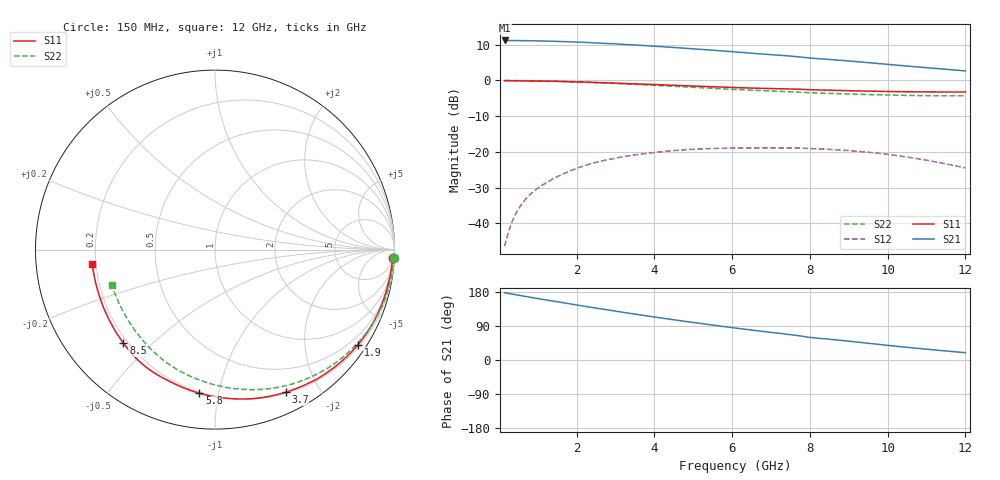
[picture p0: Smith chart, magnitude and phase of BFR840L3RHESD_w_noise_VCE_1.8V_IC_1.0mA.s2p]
! Infineon Technologies  Discrete & RF Semiconductors
! BFR840L3RHESD
! VCE =  1.8 V,  IC =  1.0 mA
! Common Emitter S-Parameters:  Jun 2012
# GHz  S  MA  R  50
!  f  S11  S21  S12  S22
! GHz  MAG  ANG  MAG  ANG  MAG  ANG  MAG  ANG
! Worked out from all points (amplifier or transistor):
!   91 points, 150 MHz to 12 GHz, reference 50 ohm
!   highest |S21| = 11.2 dB at 150 MHz (marker M1)
!   |S21| within 3 dB of that: start of sweep to 5.831 GHz
!   unconditionally stable (mu >= 1): 10.32 GHz to end of sweep
!   at 1.3 GHz: K = 0.06, MSG = 19.6 dB, |S12| = -28.1 dB
!   at 4.3 GHz: K = 0.18, MSG = 14.6 dB, |S12| = -19.8 dB
!   at 12 GHz: K = 1.87, MAG = 8.2 dB, |S12| = -24.5 dB
!   lowest NFmin = 0.33 dB at 450 MHz
!   S11 on the Smith chart (normalised r, x): 150 MHz: 8, -39; 1.9 GHz: 0.26, -3.29; 3.7 GHz: 0.21, -1.59; 5.8 GHz: 0.19, -0.88; 8.5 GHz: 0.18, -0.41; 12 GHz: 0.18, -0.06
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0.15  0.9904 -2.8  3.622 177.3  0.0048 90.5  0.9988 -2.6
0.25  0.9897 -4.6  3.616 175.5  0.0076 86.2  0.9979 -4.2
0.35  0.9884 -6.4  3.612 173.8  0.0108 83.2  0.9967 -5.9
0.5  0.986 -9.1  3.606 171.1  0.0157 80.0  0.9947 -8.4
0.7  0.9828 -12.6  3.596 167.5  0.0221 76.8  0.9916 -11.6
0.9  0.9798 -16.1  3.581 164.0  0.0281 74.3  0.988 -14.9
1.3  0.9731 -23.1  3.539 157.2  0.0392 69.5  0.9781 -21.4
1.9  0.9567 -33.6  3.458 146.9  0.056 61.1  0.9562 -31.0
2.2  0.9465 -38.8  3.406 141.9  0.064 56.4  0.9436 -35.7
3  0.9172 -52.3  3.251 129.0  0.0811 45.5  0.9062 -47.9
3.7  0.8867 -63.7  3.083 118.0  0.0939 36.2  0.8691 -58.5
4.2  0.8671 -71.7  2.962 110.6  0.1007 29.7  0.8427 -65.7
5  0.8343 -84.1  2.767 99.1  0.1087 19.5  0.8004 -77.0
5.8  0.805 -96.2  2.572 88.2  0.1125 9.9  0.761 -88.0
6.1  0.7946 -100.7  2.498 84.2  0.1132 6.5  0.7472 -92.0
6.8  0.7737 -110.6  2.335 75.3  0.1137 -0.6  0.7181 -101.2
7.4  0.7614 -118.9  2.21 68.2  0.1137 -6.6  0.6971 -108.7
8  0.7415 -129.1  2.053 59.5  0.1114 -14.7  0.6718 -118.0
8.5  0.7297 -134.4  1.965 54.9  0.1086 -19.3  0.6589 -123.0
9.5  0.7078 -146.5  1.773 44.2  0.099 -30.1  0.6344 -134.4
10.5  0.6941 -158.3  1.589 33.4  0.0848 -41.2  0.6172 -145.9
12  0.6889 -173.3  1.358 19.3  0.0597 -54.4  0.6089 -161.1
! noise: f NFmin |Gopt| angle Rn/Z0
0.45  0.33  0.88  10  0.41
0.9  0.36  0.86  14  0.39
1.9  0.41  0.8  27  0.37
3.5  0.46  0.76  44  0.34
4  0.5  0.74  55  0.33
5.5  0.61  0.75  73  0.29
7  0.78  0.71  93  0.24
8  0.93  0.69  105  0.21
10  1.21  0.61  124  0.16
12  1.56  0.55  153  0.08
